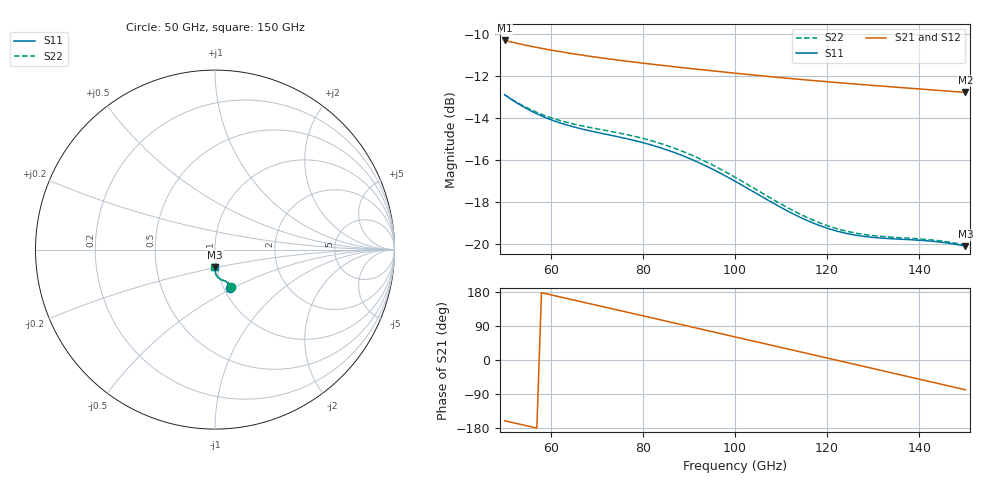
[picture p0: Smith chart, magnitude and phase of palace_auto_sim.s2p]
#  GHZ S DB R 50
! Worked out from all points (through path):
!   101 points, 50 GHz to 150 GHz, reference 50 ohm
!   highest |S21| = -10.28 dB at 50 GHz (marker M1); lowest = -12.8 dB at 150 GHz (marker M2)
!   group delay of S21, straight-line fit = 7.73 ps
!   lowest |S11| = -20.1 dB at 150 GHz (marker M3), VSWR 1.22, Z = 49.1 - j9.82 ohm
!   |S11| at or under -10 dB: start of sweep to end of sweep
!   |S22| runs from -20.0 to -12.9 dB; largest |S21 - S12| = 2.7e-13
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50  -12.87 -69.2  -10.28 -160.3  -10.28 -160.3  -12.87 -67.2
54  -13.43 -69.6  -10.48 -171.4  -10.48 -171.4  -13.40 -67.4
58  -13.88 -69.8  -10.66 177.5  -10.66 177.5  -13.80 -67.6
62  -14.21 -70.1  -10.82 166.5  -10.82 166.5  -14.10 -67.9
67  -14.51 -71.0  -10.99 152.7  -10.99 152.7  -14.36 -68.9
72  -14.75 -72.5  -11.14 138.9  -11.14 138.9  -14.57 -70.6
76  -14.94 -74.3  -11.26 127.8  -11.26 127.8  -14.75 -72.5
80  -15.15 -76.3  -11.36 116.7  -11.36 116.7  -14.95 -74.7
84  -15.41 -78.6  -11.47 105.6  -11.47 105.6  -15.20 -77.2
88  -15.72 -81.0  -11.56 94.4  -11.56 94.4  -15.51 -79.7
92  -16.09 -83.3  -11.66 83.3  -11.66 83.3  -15.89 -82.2
96  -16.51 -85.4  -11.75 72.1  -11.75 72.1  -16.32 -84.5
100  -16.99 -87.1  -11.84 61.0  -11.84 61.0  -16.80 -86.4
105  -17.62 -88.6  -11.95 47.0  -11.95 47.0  -17.44 -88.1
109  -18.12 -89.1  -12.04 35.9  -12.04 35.9  -17.95 -88.9
117  -18.98 -88.6  -12.19 13.6  -12.19 13.6  -18.85 -88.7
121  -19.30 -87.8  -12.27 2.5  -12.27 2.5  -19.18 -88.2
125  -19.51 -87.0  -12.34 -8.7  -12.34 -8.7  -19.41 -87.6
129  -19.64 -86.4  -12.41 -19.9  -12.41 -19.9  -19.55 -87.2
134  -19.73 -86.1  -12.49 -33.8  -12.49 -33.8  -19.65 -87.3
142  -19.83 -87.3  -12.63 -56.2  -12.63 -56.2  -19.77 -89.2
150  -20.08 -89.7  -12.76 -78.6  -12.76 -78.6  -20.04 -92.7
